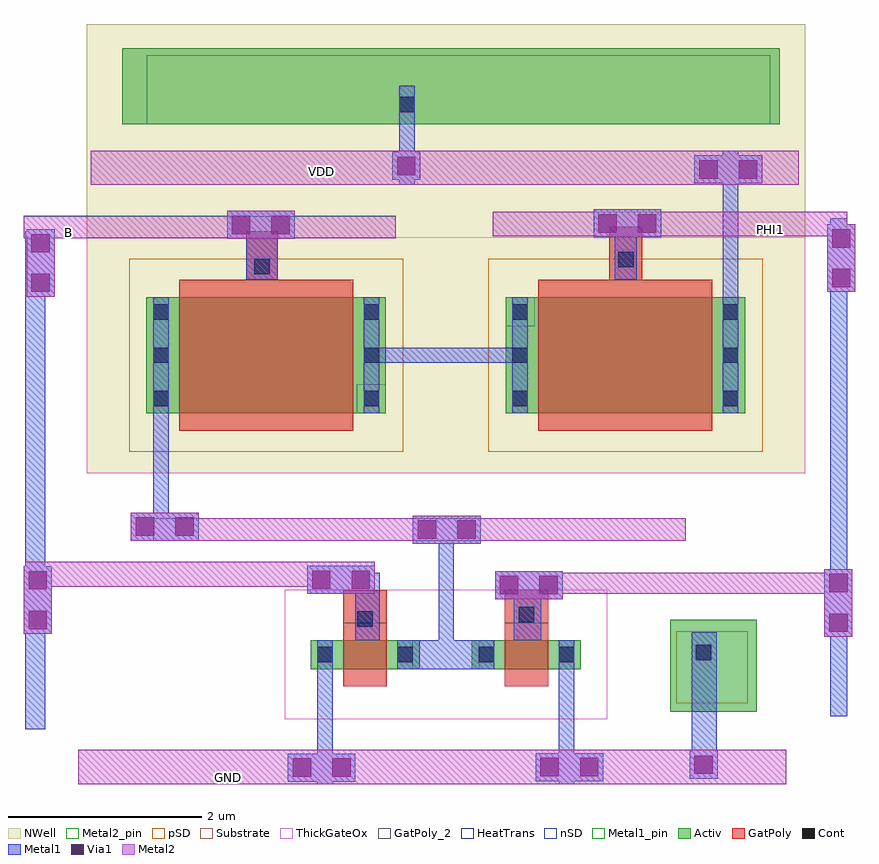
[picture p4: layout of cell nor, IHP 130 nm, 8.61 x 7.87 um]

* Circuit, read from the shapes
.subckt nor B GND PHI1 VDD
XM1 n1 B GND GND sg13_hv_nmos w=0.3u l=0.45u
XM2 GND PHI1 n1 GND sg13_hv_nmos w=0.3u l=0.45u
XM3 n2 B n1 VDD sg13_hv_pmos w=1.2u l=1.8u
XM4 VDD PHI1 n2 VDD sg13_hv_pmos w=1.2u l=1.8u
.ends

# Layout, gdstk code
from math import pi, radians
import gdstk
lib = gdstk.Library(unit=1e-6, precision=1e-09)
def R(c, l, rs):  # rectangles x0, y0, x1, y1
    for r in rs: c.add(gdstk.rectangle(r[:2], r[2:], *l))
def A(c, l, x, y, w, h, nx, ny, dx, dy):  # array of equal rectangles
    R(c, l, [(x+i*dx, y+j*dy, x+i*dx+w, y+j*dy+h) for i in range(nx) for j in range(ny)])
def P(c, l, *ps):  # polygons
    for p in ps: c.add(gdstk.Polygon(p, *l))
Activ = (1, 0)
GatPoly = (5, 0)
GatPoly_2 = (5, 2)
Cont = (6, 0)
nSD = (7, 0)
Metal1 = (8, 0)
Metal1_pin = (8, 2)
Metal2 = (10, 0)
Metal2_pin = (10, 2)
pSD = (14, 0)
Via1 = (19, 0)
NWell = (31, 0)
Substrate = (40, 0)
ThickGateOx = (44, 0)
HeatTrans = (51, 0)

via_stack_2_4 = lib.new_cell('via_stack$2$4')
R(via_stack_2_4, Metal1, [(-0.35,-0.145,0.35,0.145)])
R(via_stack_2_4, Metal2, [(-0.35,-0.145,0.35,0.145)])
R(via_stack_2_4, Via1, [(-0.3,-0.095,-0.11,0.095), (0.11,-0.095,0.3,0.095)])

via_stack_1_2_1 = lib.new_cell('via_stack$1$2$1')
R(via_stack_1_2_1, Metal1, [(-0.105,-0.49,0.185,0.21)])
R(via_stack_1_2_1, Metal2, [(-0.105,-0.49,0.185,0.21)])
R(via_stack_1_2_1, Via1, [(-0.055,-0.44,0.135,-0.25), (-0.055,-0.03,0.135,0.16)])

pmoshv_9 = lib.new_cell('pmosHV$9')
R(pmoshv_9, Activ, [(0,0,0.3,0.3), (0,0,2.48,1.2), (2.18,0,2.48,0.3)])
R(pmoshv_9, GatPoly, [(0.34,-0.18,2.14,1.38)])
R(pmoshv_9, GatPoly_2, [(0.34,-0.18,2.14,1.38)])
A(pmoshv_9, Cont, 0.07, 0.07, 0.16, 0.16, 1, 3, 0, 0.45)
A(pmoshv_9, Cont, 2.25, 0.07, 0.16, 0.16, 1, 3, 0, 0.45)
R(pmoshv_9, Metal1, [(0.07,0,0.23,1.2), (2.25,0,2.41,1.2)])
R(pmoshv_9, Metal1_pin, [(0.07,0,0.23,1.2), (2.25,0,2.41,1.2)])
R(pmoshv_9, pSD, [(-0.18,-0.4,2.66,1.6)])
R(pmoshv_9, NWell, [(-0.62,-0.62,3.1,1.82)])
R(pmoshv_9, Substrate, [(2.18,0,2.48,0.3)])
R(pmoshv_9, ThickGateOx, [(-0.62,-0.62,3.1,1.82)])
R(pmoshv_9, HeatTrans, [(0.34,-0.18,2.14,1.38)])
pmoshv_9.add(gdstk.Label('pmosHV', (1.24,0.6), layer=63, texttype=0))
pmoshv_9.add(gdstk.Label('pmos', (1.24,0.6), layer=51, texttype=0))

pmoshv_1_6 = lib.new_cell('pmosHV$1$6')
R(pmoshv_1_6, Activ, [(0,0,0.3,0.3), (0,0,2.48,1.2), (2.18,0,2.48,0.3)])
R(pmoshv_1_6, GatPoly, [(0.34,-0.18,2.14,1.38)])
R(pmoshv_1_6, GatPoly_2, [(0.34,-0.18,2.14,1.38)])
A(pmoshv_1_6, Cont, 0.07, 0.07, 0.16, 0.16, 1, 3, 0, 0.45)
A(pmoshv_1_6, Cont, 2.25, 0.07, 0.16, 0.16, 1, 3, 0, 0.45)
R(pmoshv_1_6, Metal1, [(0.07,0,0.23,1.2), (2.25,0,2.41,1.2)])
R(pmoshv_1_6, Metal1_pin, [(0.07,0,0.23,1.2), (2.25,0,2.41,1.2)])
R(pmoshv_1_6, pSD, [(-0.18,-0.4,2.66,1.6)])
R(pmoshv_1_6, NWell, [(-0.62,-0.62,3.1,1.82)])
R(pmoshv_1_6, Substrate, [(2.18,0,2.48,0.3)])
R(pmoshv_1_6, ThickGateOx, [(-0.62,-0.62,3.1,1.82)])
R(pmoshv_1_6, HeatTrans, [(0.34,-0.18,2.14,1.38)])
pmoshv_1_6.add(gdstk.Label('pmosHV', (1.24,0.6), layer=63, texttype=0))
pmoshv_1_6.add(gdstk.Label('pmos', (1.24,0.6), layer=51, texttype=0))

nmoshv_7 = lib.new_cell('nmosHV$7')
R(nmoshv_7, Activ, [(0,0,0.3,0.3), (0,0,1.13,0.3), (0.83,0,1.13,0.3)])
R(nmoshv_7, GatPoly, [(0.34,-0.18,0.79,0.48)])
R(nmoshv_7, GatPoly_2, [(0.34,-0.18,0.79,0.48)])
R(nmoshv_7, Cont, [(0.07,0.07,0.23,0.23), (0.9,0.07,1.06,0.23)])
R(nmoshv_7, Metal1, [(0.07,0,0.23,0.3), (0.9,0,1.06,0.3)])
R(nmoshv_7, Metal1_pin, [(0.07,0,0.23,0.3), (0.9,0,1.06,0.3)])
R(nmoshv_7, ThickGateOx, [(-0.27,-0.52,1.4,0.82)])
R(nmoshv_7, HeatTrans, [(0.34,-0.18,0.79,0.48)])
nmoshv_7.add(gdstk.Label('nmosHV', (0.565,0.15), layer=63, texttype=0))
nmoshv_7.add(gdstk.Label('nmosHV', (0.565,0.15), layer=51, texttype=0))

via_stack_3_2 = lib.new_cell('via_stack$3$2')
R(via_stack_3_2, Metal1, [(-0.145,-0.145,0.145,0.145)])
R(via_stack_3_2, Metal2, [(-0.145,-0.145,0.145,0.145)])
R(via_stack_3_2, Via1, [(-0.095,-0.095,0.095,0.095)])

nor = lib.new_cell('nor')
R(nor, Activ, [(19.955,1.4,20.85,2.35), (14.28,7.48,21.09,8.27)])
R(nor, GatPoly, [(18.24,2.21,18.69,2.66), (16.57,2.24,17.02,2.655), (15.565,5.87,15.89,6.375), (19.325,5.87,19.665,6.42)])
R(nor, Cont, [(20.22,1.93,20.38,2.09), (16.715,2.28,16.875,2.44), (18.385,2.325,18.545,2.485), (15.645,5.93,15.805,6.09), (19.415,6,19.575,6.16), (17.15,7.605,17.31,7.765)])
R(nor, nSD, [(14.535,7.48,20.99,8.195)])
R(nor, Metal1, [(16.3,0.65,16.46,2.14), (18.8,0.65,18.96,2.14), (20.175,0.705,20.435,1.79), (13.275,1.215,13.485,6.375), (21.61,1.35,21.785,6.51), (20.175,1.79,20.435,2.22), (16.695,2.14,16.945,2.84), (18.335,2.14,18.62,2.78), (14.6,3.17,14.76,4.56), (20.5,4.49,20.66,7.21), (16.78,5.01,18.48,5.17), (15.565,5.87,15.89,6.375), (19.38,5.87,19.61,6.415), (15.565,6.345,15.89,6.535), (19.38,6.365,19.61,6.575), (17.15,6.855,17.31,7.88)])
P(nor, Metal1, [(17.13,1.84),(17.13,2.14),(17.555,2.14),(17.555,3.4),(17.715,3.4),(17.715,2.14),(18.13,2.14),(18.13,1.84)])
R(nor, Metal2, [(13.825,0.65,21.155,1.005), (18.315,2.62,21.79,2.835), (13.275,2.69,16.895,2.95), (14.6,3.17,20.115,3.4), (13.26,6.3,17.11,6.535), (18.115,6.32,21.785,6.575), (13.955,6.855,21.285,7.21)])
R(nor, Metal2_pin, [(13.825,0.65,21.155,1.005), (14.6,3.17,20.115,3.4), (13.26,6.3,17.11,6.53), (18.115,6.32,21.785,6.575), (13.955,6.855,21.285,7.21)])
R(nor, pSD, [(20.015,1.485,20.755,2.23)])
R(nor, NWell, [(13.91,6.18,21.355,8.52)])
nor.add(gdstk.Reference(via_stack_2_4, (20.555,7.015)))
nor.add(gdstk.Reference(via_stack_2_4, (18.49,2.71)))
nor.add(gdstk.Reference(via_stack_2_4, (17.64,3.285)))
nor.add(gdstk.Reference(via_stack_2_4, (15.715,6.44)))
nor.add(gdstk.Reference(via_stack_1_2_1, (13.365,2.695)))
nor.add(gdstk.Reference(via_stack_1_2_1, (13.395,6.185)))
nor.add(gdstk.Reference(via_stack_1_2_1, (21.655,2.665)))
nor.add(gdstk.Reference(via_stack_2_4, (16.545,2.765)))
nor.add(gdstk.Reference(via_stack_2_4, (14.72,3.315)))
nor.add(gdstk.Reference(via_stack_2_4, (16.345,0.82)))
nor.add(gdstk.Reference(via_stack_2_4, (18.91,0.825)))
nor.add(gdstk.Reference(via_stack_2_4, (19.51,6.455)))
nor.add(gdstk.Reference(via_stack_1_2_1, (21.685,6.235)))
nor.add(gdstk.Reference(pmoshv_9, (20.73,5.69), rotation=pi))
nor.add(gdstk.Reference(pmoshv_1_6, (14.53,4.49)))
nor.add(gdstk.Reference(nmoshv_7, (17.36,2.14), rotation=pi))
nor.add(gdstk.Reference(nmoshv_7, (17.9,1.84)))
nor.add(gdstk.Reference(via_stack_3_2, (17.22,7.05)))
nor.add(gdstk.Reference(via_stack_3_2, (20.3,0.85)))
nor.add(gdstk.Label('PHI1', (20.995,6.39), layer=10, texttype=25))
nor.add(gdstk.Label('GND', (15.375,0.715), layer=10, texttype=25))
nor.add(gdstk.Label('VDD', (16.345,6.995), layer=10, texttype=25))
nor.add(gdstk.Label('B', (13.725,6.36), layer=10, texttype=25))

lib.write_gds('nor.gds')
